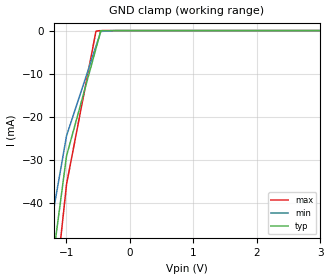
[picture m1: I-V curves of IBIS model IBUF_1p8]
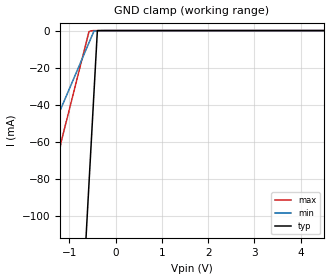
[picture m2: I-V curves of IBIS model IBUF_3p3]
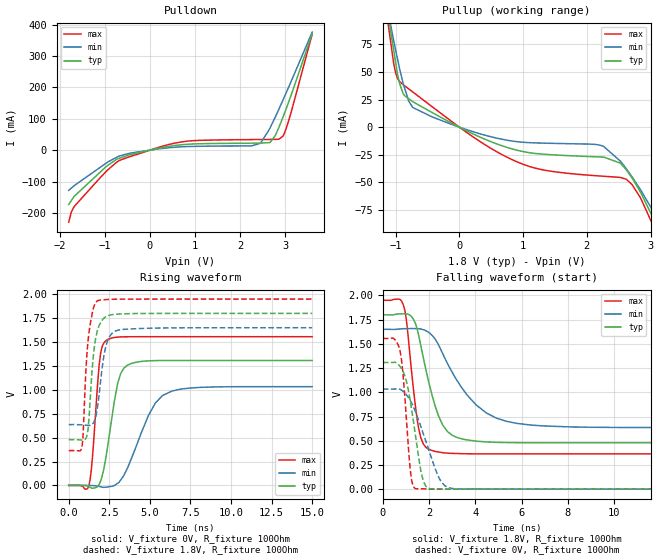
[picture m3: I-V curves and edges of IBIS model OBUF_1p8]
|Texas Instruments Incorporated
| Industry's Lowest-Power,12-Bit, 1-MSPS, SAR ADC
| in Industry's Smallest Package
| Marketing part#   Digital Voltage Range   Package-type   #pins
| ADS7C00S   1.65V - 3.6V   QFN   8
[IBIS Ver]   4.1
[File name]   ads7c00s.ibs
[File Rev]   1.0
[Date]   01/13/2014
[Source]
| Texas Instruments Incorporated.
| 12500 TI Blvd
| Dallas, TX -75243
[Notes]   Revision History:
| Rev 1.0: 01/13/2014
| - Initial version of the model
| - Model generated from simulations in TISPICE
| - C_comp although listed in numerical order of value are
|   obtained from varying PVT conditions. For PVT conditions for
|   each specific value refer the buffer description under
|   respective [Model]. IBIS model user is responsible for using
|   appropriate C_comp to simulate for Signal Integrity.
| - Warnings regarding Non-monotonicity of various models were result
|   of simulaions and have been reviewd and considered minor
|   and can be ignored.
| - Model names with a trailing _1p8 contains the model for
|   1.8V operation.Model names with a trailing _3p3 contains the model
|   for 3.3V operation.
[Disclaimer]
| This model is designed as an aid for customers of Texas Instruments.
| TI and its licensors and suppliers make no warranties, either expressed
| or implied, with respect to this  model, including the warranties of
| merchantability or fitness for a particular purpose. The model is
| provided solely on an "as is" basis. The entire risk as to its quality
| and performance is with the customer.
[Copyright]
 (C) Copyright 2014 Texas Instruments Incorporated.All rights reserved.
|   Device
[Component]   ADS7C00S
[Manufacturer]   TI
[Package]
| variable   typ   min   max
R_pkg   0.01   0.008   0.12
L_pkg   1.0nH   0.8nH   1.2nH
C_pkg   0.2pF   0.16pF   0.24pF
[Pin]  signal_name   model_name   R_pin   L_pin   C_pin
1   CSB   IBUF   NA   NA   NA
2   SDO   OBUF   NA   NA   NA
3   SCLK   IBUF   NA   NA   NA
4   DVDD   POWER   NA   NA   NA
5   GND   GND   NA   NA   NA
6   AVDD   POWER   NA   NA   NA
7   AINP   NC   NA   NA   NA
8   AINM   NC   NA   NA   NA
|   Model Selectors
[Model Selector]  IBUF
IBUF_3p3  input buffer at 3.3V operation
IBUF_1p8  input buffer at 1.8V operation
[Model Selector]  OBUF
OBUF_3p3  input buffer at 3.3V operation
OBUF_1p8  input buffer at 1.8V operation
| Models and submodels in the file (4): IBUF_1p8 (Input), IBUF_3p3 (Input), OBUF_1p8 (Output), OBUF_3p3 (Output)
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|   Model
[Model]   IBUF_1p8
Model_type   Input
Vinl = 0.63
Vinh = 1.17
|   typ   min   max
C_comp   1.990pF   1.803pF   2.168pF
[Voltage Range]   1.8   1.65   1.95
[Temperature Range]   27   125   -40
[Power Clamp Reference]   1.8   1.65   1.95
[GND Clamp Reference]   0   0   0
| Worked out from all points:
|   GND clamp passes 1 mA (typ) near -0.47 V on its own axis
[GND Clamp]
|   Voltage   I(typ)   I(min)   I(max)
-1.8V     -147.7mA   -99.44mA   -215.5mA
-1.438V   -78.67mA   -61.91mA   -97.03mA
-995.4mV  -29.14mA   -24.49mA   -35.76mA
-532.5mV  -4.201mA   -3.661mA   -173.8uA
-455.4mV  -46.68uA   -193uA     -14.23uA
-212.4mV  -2.827nA   -568.5nA   0A
3.6V      0A         0A         0A
[POWER Clamp]
|   Voltage   I(typ)   I(min)   I(max)
-1.8V     0A         0A         0A
-1.789V   0A         0A         0A
-369mV    0A         0A         0A
3.6V      0A         0A         0A
|   Model
[Model]   IBUF_3p3
Model_type   Input
Vinl = 1.155
Vinh = 2.145
|   typ   min   max
C_comp   1.990pF   1.803pF   2.168pF
[Voltage Range]   3.3   3   3.6
[Temperature Range]   27   125   -40
[Power Clamp Reference]   3.3   3   3.6
[GND Clamp Reference]   0   0   0
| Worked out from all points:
|   GND clamp passes 1 mA (typ) near -0.40 V on its own axis
[GND Clamp]
|   Voltage   I(typ)   I(min)   I(max)
-3.3V     -1.546A    -1.399A    -1.656A
-2.637V   -1.021A    -758.9mA   -1.004A
-1.825V   -651.2mA   -104.5mA   -235.8mA
-1.597V   -547.5mA   -76.71mA   -127.2mA
-1.518V   -511.4mA   -69.27mA   -108.8mA
-1.28V    -403.2mA   -47.79mA   -74.48mA
-1.181V   -358.1mA   -41.99mA   -60.37mA
-577.4mV  -82.93mA   -6.622mA   -583uA
-567.6mV  -78.48mA   -6.049mA   -455.2uA
-468.6mV  -33.38mA   -251.2uA   -22.72uA
-395.3mV  -8.029uA   -170.8uA   -2.084uA
6.6V      0A         0A         0A
[POWER Clamp]
|   Voltage   I(typ)   I(min)   I(max)
-3.3V     0A         0A         0A
-3.28V    0A         0A         0A
-448.8mV  0A         0A         0A
6.6V      0A         0A         0A
|   Model
[Model]   OBUF_1p8
Model_type   Output
Polarity   Non-Inverting
Vmeas = 0.9
Vref = 0
Cref = 1pF
Rref = 10000
|   typ   min   max
C_comp   2.314pF   1.935pF   2.523pF
[Voltage Range]   1.8   1.65   1.95
[Temperature Range]   27   125   -40
[Pullup Reference]   1.8   1.65   1.95
[Pulldown Reference]   0   0   0
[Power Clamp Reference]   1.8   1.65   1.95
[GND Clamp Reference]   0   0   0
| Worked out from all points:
|   slope of the pulldown table from 0 to 0.27 V, typ, clamps not added: 33.1 ohm
|   slope of the pullup table from 0 to 0.27 V, typ, clamps not added: 35.7 ohm
|   falling waveform, V_fixture 1.8V, R_fixture 100Ohm: 20-80 % time 838ps typ, 1.7ns min, 441ps max; typ from 1.8 V to 0.478 V
|   rising waveform, V_fixture 0V, R_fixture 100Ohm: 20-80 % time 732ps typ, 1.54ns min, 396ps max; typ from 0 V to 1.31 V
|   rising waveform, V_fixture 1.8V, R_fixture 100Ohm: 20-80 % time 391ps typ, 486ps min, 350ps max; typ from 0.478 V to 1.8 V
|   falling waveform, V_fixture 0V, R_fixture 100Ohm: 20-80 % time 511ps typ, 909ps min, 296ps max; typ from 1.31 V to 0 V
[Pulldown]
|   Voltage   I(typ)   I(min)   I(max)
-1.8V     -173.4mA   -128.1mA   -229.7mA
-1.743V   -161mA     -121.2mA   -198.1mA
-1.66V    -144.7mA   -111.3mA   -176.8mA
-984.6mV  -54.49mA   -43.03mA   -70.17mA
-676.8mV  -25.77mA   -18.73mA   -32.83mA
711mV     17.31mA    10.75mA    26.38mA
2.455V    22.44mA    22mA       33.92mA
2.671V    25.28mA    72.32mA    34.18mA
2.779V    45.8mA     104.7mA    34.38mA
2.957V    106.9mA    161.3mA    45.35mA
3.146V    180.7mA    223.5mA    127.3mA
3.6V      371mA      376.4mA    369.5mA
[Pullup]
|   Voltage   I(typ)   I(min)   I(max)
-1.8V     373.3mA    326.1mA    457.3mA
-1.12V    102.4mA    105.3mA    94.79mA
-1.028V   69.08mA    77.63mA    56.95mA
-968.4mV  47.5mA     61.49mA    43.96mA
-882mV    30.48mA    39.64mA    38.47mA
-730.8mV  23.03mA    17.84mA    31.83mA
84.6mV    -2.469mA   -1.685mA   -3.535mA
873mV     -20.41mA   -12.91mA   -30.59mA
2.255V    -27.08mA   -17.33mA   -44.39mA
2.617V    -38.49mA   -37.49mA   -47.11mA
3.157V    -96.25mA   -87.51mA   -104.1mA
3.6V      -167mA     -168.8mA   -172.6mA
[Ramp]
R_load = 100
|   typ   min   max
dV/dt_r   0.784406/7.32265e-10   0.61994/1.53788e-09   0.933554/3.95806e-10
dV/dt_f   0.792922/8.3829e-10   0.608415/1.704e-09   0.95148/4.41219e-10
[Falling Waveform]
V_fixture = 1.8V
V_fixture_min = 1.65V
V_fixture_max = 1.95V
R_fixture = 100Ohm
C_fixture = 0F
|   Time   V(typ)   V(min)   V(max)
0s        1.8V       1.65V      1.95V
923ps     1.81V      1.657V     1.874V
1.273ns   1.772V     1.658V     1.148V
1.543ns   1.595V     1.656V     636.3mV
2.055ns   1.04V      1.605V     405.5mV
2.587ns   663.2mV    1.401V     377mV
3.016ns   554.1mV    1.2V       369.3mV
4.035ns   495.9mV    869.4mV    364.7mV
5.347ns   481.2mV    700.2mV    364.2mV
15ns      478.5mV    636mV      364.2mV
[Rising Waveform]
V_fixture = 0V
V_fixture_min = 0V
V_fixture_max = 0V
R_fixture = 100Ohm
C_fixture = 0F
|   Time   V(typ)   V(min)   V(max)
0s        258.6nV    -86.47nV   2.136nV
1.245ns   -10.97mV   35.41uV    -1.931mV
1.467ns   -28.92mV   -1.518mV   301.3mV
1.968ns   47.81mV    -13.82mV   1.384V
2.392ns   400.2mV    -15.94mV   1.526V
3.016ns   1.067V     22.25mV    1.552V
3.814ns   1.273V     260.9mV    1.556V
5.347ns   1.306V     864.8mV    1.556V
6.376ns   1.308V     988.4mV    1.556V
15ns      1.307V     1.033V     1.556V
[Rising Waveform]
V_fixture = 1.8V
V_fixture_min = 1.65V
V_fixture_max = 1.95V
R_fixture = 100Ohm
C_fixture = 0F
|   Time   V(typ)   V(min)   V(max)
0s        478.4mV    636.1mV    364.1mV
806.8ps   474.7mV    633.5mV    392mV
868.3ps   473.7mV    633mV      471.2mV
1.05ns    490.5mV    630mV      1.168V
1.188ns   582.4mV    627.8mV    1.507V
1.497ns   1.318V     648.5mV    1.836V
1.755ns   1.612V     801mV      1.931V
2.274ns   1.764V     1.445V     1.944V
2.862ns   1.791V     1.614V     1.949V
15ns      1.8V       1.65V      1.95V
[Falling Waveform]
|Gnd
V_fixture = 0V
V_fixture_min = 0V
V_fixture_max = 0V
R_fixture = 100Ohm
C_fixture = 0F
|   Time   V(typ)   V(min)   V(max)
0s        1.307V     1.033V     1.556V
756.6ps   1.263V     1.029V     1.415V
868.3ps   1.218V     1.011V     1.201V
1.188ns   910mV      915.7mV    195mV
1.396ns   582.1mV    808.5mV    6.463mV
1.662ns   167.9mV    634.3mV    4.245mV
1.873ns   25.57mV    486mV      2.83mV
2.444ns   3.33mV     109.7mV    1.056mV
2.862ns   1.878mV    12.82mV    616.2uV
15ns      -317.8nV   -1.092uV   100.1nV
